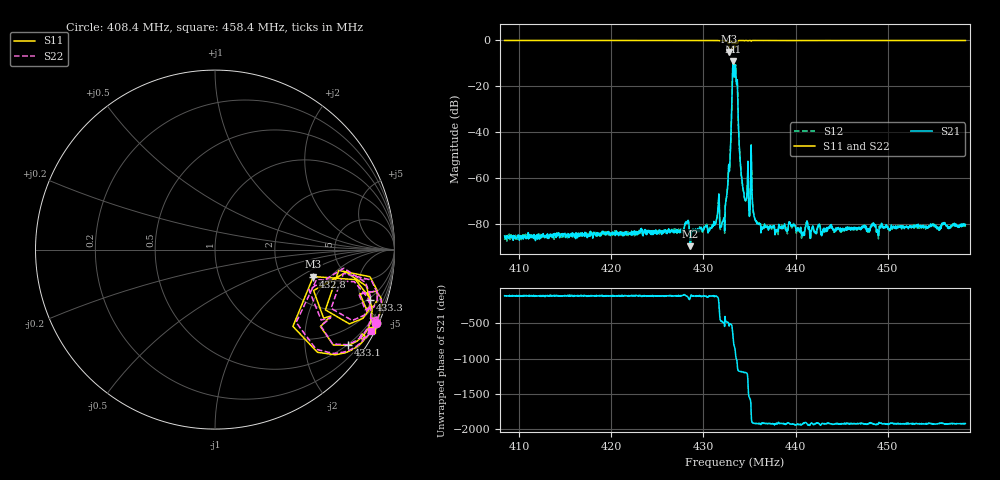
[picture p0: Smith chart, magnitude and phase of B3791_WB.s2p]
! Matrix data file written by TouchstoneData, EPCOS AG
! FILENAME: "B3791_WB.s2p"
! COMMENT: "Lk=47nH SIMID"
! INFO: nport=2, nfreq=1601
! DATE: "Wed Sep 19 15:42:16 2012"
! USER: "Wilfried Schott"
! port | pin | signal
!  1  |  2  |  IN
!  2  |  5  |  OUT
!  3  |  7  |  Coupling coil
# MHZ S MA R 50
! freq  magS11 angS11  magS21 angS21  magS12 angS12  magS22 angS22
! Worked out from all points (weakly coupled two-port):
!   1601 points, 408.4 MHz to 458.4 MHz, reference 50 ohm
!   highest |S21| = -9.20 dB at 433.2 MHz (marker M1); lowest = -89.4 dB at 428.6 MHz (marker M2)
!   lowest |S11| = -4.9 dB at 432.8 MHz (marker M3), VSWR 3.63, Z = 149 - j66.1 ohm
!   |S11| at or under -10 dB: nowhere
!   |S22| runs from -4.9 to -0.1 dB; largest |S21 - S12| = 0.0017
!   S11 on the Smith chart (normalised r, x): 408.4 MHz: 0.16, -4.59; 432.8 MHz: 2.98, -1.32; 433.1 MHz: 0.47, -3.05; 433.3 MHz: 1.78, -5.81; 458.4 MHz: 0.15, -4.12
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408.42  0.986 -24.5  5.649e-05 -114.5  4.629e-05 -114.5  0.9844 -24.6
416.7638  0.9856 -25.1  5.863e-05 -108.5  5.664e-05 -113.4  0.9843 -25.2
425.1075  0.985 -25.9  6.626e-05 -115.4  6.566e-05 -116.9  0.9829 -25.9
428.5763  0.9804 -26.2  3.379e-05 -133.6  3.966e-05 -137.2  0.9789 -26.3
431.045  0.9819 -27.7  9.338e-05 -113.6  9.262e-05 -116.4  0.9794 -27.8
431.5138  0.9818 -28.1  0.0001679 -131.0  0.0001654 -127.2  0.9794 -28.2
432.0763  0.9777 -29.6  0.0001159 -126.3  0.000117 -123.8  0.9748 -29.8
432.42  0.9701 -31.0  0.0003132 -110.1  0.0002988 -111.1  0.966 -31.2
432.7638  0.5678 -15.3  0.002031 -177.2  0.001998 -178.1  0.5898 -16.5
433.0763  0.915 -35.6  0.04545 -174.5  0.04528 -174.3  0.9088 -35.7
433.2325  0.5947 -22.5  0.3468 -12.7  0.3451 -12.6  0.5689 -23.1
433.3263  0.9102 -17.9  0.1692 -101.1  0.1683 -101.0  0.9057 -16.8
433.42  0.8557 -28.9  0.2142 -141.1  0.2132 -141.0  0.8609 -27.3
433.67  0.8448 -16.9  0.1383 -12.0  0.1376 -11.9  0.8391 -17.2
434.045  0.985 -21.7  0.001627 -104.6  0.001621 -104.3  0.9835 -21.8
434.295  0.9842 -23.1  0.000583 -109.4  0.0005775 -109.7  0.9823 -23.2
434.8263  0.9643 -24.0  0.002337 102.5  0.002339 102.1  0.9637 -24.2
435.0138  0.9846 -24.1  0.0001611 -119.6  0.0001631 -119.7  0.9828 -24.2
435.7013  0.9855 -24.5  0.0001219 -117.9  0.0001143 -116.4  0.9835 -24.6
441.7638  0.9826 -25.8  8.051e-05 -109.0  8.06e-05 -107.6  0.9803 -25.9
450.1075  0.9836 -26.6  7.784e-05 -123.1  7.949e-05 -120.0  0.9811 -26.7
458.42  0.9838 -27.3  0.0001 -117.8  8.795e-05 -122.2  0.9816 -27.4
